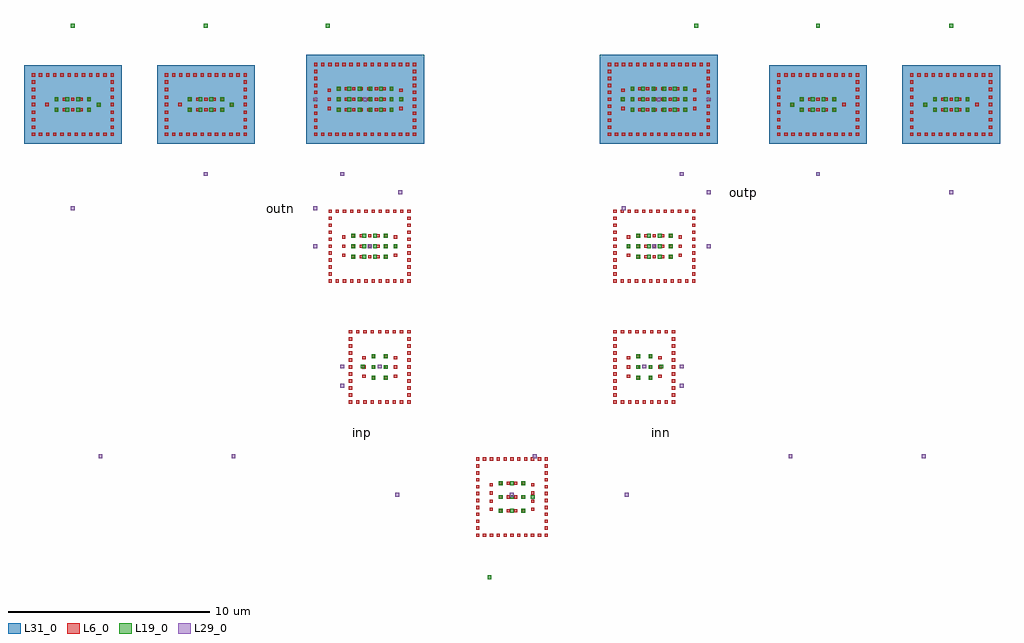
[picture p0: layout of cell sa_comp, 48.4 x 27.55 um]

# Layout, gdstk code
import gdstk
lib = gdstk.Library(unit=1e-6, precision=1e-09)
def R(c, l, rs):  # rectangles x0, y0, x1, y1
    for r in rs: c.add(gdstk.rectangle(r[:2], r[2:], *l))
def A(c, l, x, y, w, h, nx, ny, dx, dy):  # array of equal rectangles
    R(c, l, [(x+i*dx, y+j*dy, x+i*dx+w, y+j*dy+h) for i in range(nx) for j in range(ny)])
L6_0 = (6, 0)
L19_0 = (19, 0)
L29_0 = (29, 0)
L31_0 = (31, 0)

sa_comp = lib.new_cell('sa_comp')
A(sa_comp, L6_0, -1.78, 0.11, 0.16, 0.16, 11, 2, 0.34, 3.78)
A(sa_comp, L6_0, -1.78, 0.46, 0.16, 0.16, 1, 3, 0, 0.34)
A(sa_comp, L6_0, 1.62, 0.46, 0.16, 0.16, 1, 3, 0, 0.34)
A(sa_comp, L6_0, -0.65, 1.32, 0.16, 0.16, 4, 3, 0.38, 0.68)
A(sa_comp, L6_0, -1.11, 1.39, 0.16, 0.16, 1, 3, 0, 0.405)
A(sa_comp, L6_0, 0.95, 1.39, 0.16, 0.16, 1, 3, 0, 0.405)
A(sa_comp, L6_0, -6.96, 7.92, 0.16, 0.16, 1, 3, 0, 0.53)
A(sa_comp, L6_0, -6.32, 7.92, 0.16, 0.16, 1, 3, 0, 0.53)
A(sa_comp, L6_0, 6.16, 7.92, 0.16, 0.16, 1, 3, 0, 0.53)
A(sa_comp, L6_0, 6.8, 7.92, 0.16, 0.16, 1, 3, 0, 0.53)
A(sa_comp, L6_0, -7.42, 7.99, 0.16, 0.16, 1, 3, 0, 0.46)
A(sa_comp, L6_0, -5.86, 7.99, 0.16, 0.16, 1, 3, 0, 0.46)
A(sa_comp, L6_0, 5.7, 7.99, 0.16, 0.16, 1, 3, 0, 0.46)
A(sa_comp, L6_0, 7.26, 7.99, 0.16, 0.16, 1, 3, 0, 0.46)
A(sa_comp, L6_0, -8.09, 9.49, 0.16, 0.16, 1, 3, 0, 0.35)
A(sa_comp, L6_0, -5.19, 9.49, 0.16, 0.16, 1, 3, 0, 0.35)
A(sa_comp, L6_0, 5.03, 9.49, 0.16, 0.16, 1, 3, 0, 0.35)
A(sa_comp, L6_0, 7.93, 9.49, 0.16, 0.16, 1, 3, 0, 0.35)
A(sa_comp, L6_0, -8.74, 12.71, 0.16, 0.16, 11, 2, 0.355, 3.46)
A(sa_comp, L6_0, 5.03, 12.71, 0.16, 0.16, 11, 2, 0.355, 3.46)
A(sa_comp, L6_0, -9.09, 13.06, 0.16, 0.16, 1, 9, 0, 0.345)
A(sa_comp, L6_0, -5.19, 13.06, 0.16, 0.16, 1, 9, 0, 0.345)
A(sa_comp, L6_0, 5.03, 13.06, 0.16, 0.16, 1, 9, 0, 0.345)
A(sa_comp, L6_0, 8.93, 13.06, 0.16, 0.16, 1, 9, 0, 0.345)
A(sa_comp, L6_0, -7.96, 13.92, 0.16, 0.16, 5, 3, 0.41, 0.52)
A(sa_comp, L6_0, 6.16, 13.92, 0.16, 0.16, 5, 3, 0.41, 0.52)
A(sa_comp, L6_0, -8.42, 13.99, 0.16, 0.16, 1, 3, 0, 0.45)
A(sa_comp, L6_0, -5.86, 13.99, 0.16, 0.16, 1, 3, 0, 0.45)
A(sa_comp, L6_0, 5.7, 13.99, 0.16, 0.16, 1, 3, 0, 0.45)
A(sa_comp, L6_0, 8.26, 13.99, 0.16, 0.16, 1, 3, 0, 0.45)
A(sa_comp, L6_0, -23.46, 19.99, 0.16, 0.16, 11, 2, 0.355, 2.94)
A(sa_comp, L6_0, -16.86, 19.99, 0.16, 0.16, 11, 2, 0.355, 2.94)
A(sa_comp, L6_0, -9.81, 19.99, 0.16, 0.16, 15, 2, 0.35, 3.46)
A(sa_comp, L6_0, 4.75, 19.99, 0.16, 0.16, 15, 2, 0.35, 3.46)
A(sa_comp, L6_0, 13.15, 19.99, 0.16, 0.16, 11, 2, 0.355, 2.94)
A(sa_comp, L6_0, 19.75, 19.99, 0.16, 0.16, 11, 2, 0.355, 2.94)
A(sa_comp, L6_0, -9.81, 20.34, 0.16, 0.16, 1, 9, 0, 0.345)
A(sa_comp, L6_0, -4.91, 20.34, 0.16, 0.16, 1, 9, 0, 0.345)
A(sa_comp, L6_0, 4.75, 20.34, 0.16, 0.16, 1, 9, 0, 0.345)
A(sa_comp, L6_0, 9.65, 20.34, 0.16, 0.16, 1, 9, 0, 0.345)
A(sa_comp, L6_0, -23.81, 20.71, 0.16, 0.16, 1, 3, 0, 0.375)
A(sa_comp, L6_0, -19.91, 20.71, 0.16, 0.16, 1, 3, 0, 0.375)
A(sa_comp, L6_0, -17.21, 20.71, 0.16, 0.16, 1, 3, 0, 0.375)
A(sa_comp, L6_0, -13.31, 20.71, 0.16, 0.16, 1, 3, 0, 0.375)
A(sa_comp, L6_0, 13.15, 20.71, 0.16, 0.16, 1, 3, 0, 0.375)
A(sa_comp, L6_0, 17.05, 20.71, 0.16, 0.16, 1, 3, 0, 0.375)
A(sa_comp, L6_0, 19.75, 20.71, 0.16, 0.16, 1, 3, 0, 0.375)
A(sa_comp, L6_0, 23.65, 20.71, 0.16, 0.16, 1, 3, 0, 0.375)
A(sa_comp, L6_0, -22.68, 21.2, 0.16, 0.16, 5, 2, 0.41, 0.52)
A(sa_comp, L6_0, -16.08, 21.2, 0.16, 0.16, 5, 2, 0.41, 0.52)
A(sa_comp, L6_0, -8.68, 21.2, 0.16, 0.16, 3, 3, 0.375, 0.52)
A(sa_comp, L6_0, -7.55, 21.2, 0.16, 0.16, 1, 3, 0, 0.52)
A(sa_comp, L6_0, -7.175, 21.2, 0.16, 0.16, 1, 3, 0, 0.52)
A(sa_comp, L6_0, -6.795, 21.2, 0.16, 0.16, 1, 3, 0, 0.52)
A(sa_comp, L6_0, -6.42, 21.2, 0.16, 0.16, 1, 3, 0, 0.52)
A(sa_comp, L6_0, -6.04, 21.2, 0.16, 0.16, 1, 3, 0, 0.52)
A(sa_comp, L6_0, 5.88, 21.2, 0.16, 0.16, 1, 3, 0, 0.52)
A(sa_comp, L6_0, 6.26, 21.2, 0.16, 0.16, 1, 3, 0, 0.52)
A(sa_comp, L6_0, 6.635, 21.2, 0.16, 0.16, 1, 3, 0, 0.52)
A(sa_comp, L6_0, 7.015, 21.2, 0.16, 0.16, 1, 3, 0, 0.52)
A(sa_comp, L6_0, 7.39, 21.2, 0.16, 0.16, 1, 3, 0, 0.52)
A(sa_comp, L6_0, 7.77, 21.2, 0.16, 0.16, 3, 3, 0.375, 0.52)
A(sa_comp, L6_0, 14.28, 21.2, 0.16, 0.16, 5, 2, 0.41, 0.52)
A(sa_comp, L6_0, 20.88, 21.2, 0.16, 0.16, 5, 2, 0.41, 0.52)
A(sa_comp, L6_0, -9.14, 21.27, 0.16, 0.16, 1, 3, 0, 0.45)
A(sa_comp, L6_0, -5.58, 21.27, 0.16, 0.16, 1, 3, 0, 0.45)
A(sa_comp, L6_0, 5.42, 21.27, 0.16, 0.16, 1, 3, 0, 0.45)
A(sa_comp, L6_0, 8.98, 21.27, 0.16, 0.16, 1, 3, 0, 0.45)
A(sa_comp, L6_0, -23.81, 21.83, 0.16, 0.16, 1, 3, 0, 0.375)
A(sa_comp, L6_0, -19.91, 21.83, 0.16, 0.16, 1, 3, 0, 0.375)
A(sa_comp, L6_0, -17.21, 21.83, 0.16, 0.16, 1, 3, 0, 0.375)
A(sa_comp, L6_0, -13.31, 21.83, 0.16, 0.16, 1, 3, 0, 0.375)
A(sa_comp, L6_0, 13.15, 21.83, 0.16, 0.16, 1, 3, 0, 0.375)
A(sa_comp, L6_0, 17.05, 21.83, 0.16, 0.16, 1, 3, 0, 0.375)
A(sa_comp, L6_0, 19.75, 21.83, 0.16, 0.16, 1, 3, 0, 0.375)
A(sa_comp, L6_0, 23.65, 21.83, 0.16, 0.16, 1, 3, 0, 0.375)
R(sa_comp, L6_0, [(-1.78,1.485,-1.62,1.645), (1.62,1.485,1.78,1.645), (-1.78,1.825,-1.62,1.985), (1.62,1.825,1.78,1.985), (-1.78,2.17,-1.62,2.33), (1.62,2.17,1.78,2.33), (-1.78,2.51,-1.62,2.67), (1.62,2.51,1.78,2.67), (-1.11,2.61,-0.95,2.77), (0.95,2.61,1.11,2.77), (-1.78,2.855,-1.62,3.015), (1.62,2.855,1.78,3.015), (-1.78,3.195,-1.62,3.355), (1.62,3.195,1.78,3.355), (-1.78,3.54,-1.62,3.7), (1.62,3.54,1.78,3.7), (-8.09,6.71,-7.93,6.87), (-7.73,6.71,-7.57,6.87), (-7.365,6.71,-7.205,6.87), (-7.005,6.71,-6.845,6.87), (-6.64,6.71,-6.48,6.87), (-6.28,6.71,-6.12,6.87), (-5.915,6.71,-5.755,6.87), (-5.555,6.71,-5.395,6.87), (-5.19,6.71,-5.03,6.87), (5.03,6.71,5.19,6.87), (5.395,6.71,5.555,6.87), (5.755,6.71,5.915,6.87), (6.12,6.71,6.28,6.87), (6.48,6.71,6.64,6.87), (6.845,6.71,7.005,6.87), (7.205,6.71,7.365,6.87), (7.57,6.71,7.73,6.87), (7.93,6.71,8.09,6.87), (-8.09,7.06,-7.93,7.22), (-5.19,7.06,-5.03,7.22), (5.03,7.06,5.19,7.22), (7.93,7.06,8.09,7.22), (-8.09,7.405,-7.93,7.565), (-5.19,7.405,-5.03,7.565), (5.03,7.405,5.19,7.565), (7.93,7.405,8.09,7.565), (-8.09,7.755,-7.93,7.915), (-5.19,7.755,-5.03,7.915), (5.03,7.755,5.19,7.915), (7.93,7.755,8.09,7.915), (-8.09,8.1,-7.93,8.26), (-5.19,8.1,-5.03,8.26), (5.03,8.1,5.19,8.26), (7.93,8.1,8.09,8.26), (-8.09,8.45,-7.93,8.61), (-5.19,8.45,-5.03,8.61), (5.03,8.45,5.19,8.61), (7.93,8.45,8.09,8.61), (-8.09,8.795,-7.93,8.955), (-5.19,8.795,-5.03,8.955), (5.03,8.795,5.19,8.955), (7.93,8.795,8.09,8.955), (-8.09,9.145,-7.93,9.305), (-5.19,9.145,-5.03,9.305), (5.03,9.145,5.19,9.305), (7.93,9.145,8.09,9.305), (-7.73,10.19,-7.57,10.35), (-7.365,10.19,-7.205,10.35), (-7.005,10.19,-6.845,10.35), (-6.64,10.19,-6.48,10.35), (-6.28,10.19,-6.12,10.35), (-5.915,10.19,-5.755,10.35), (-5.555,10.19,-5.395,10.35), (5.395,10.19,5.555,10.35), (5.755,10.19,5.915,10.35), (6.12,10.19,6.28,10.35), (6.48,10.19,6.64,10.35), (6.845,10.19,7.005,10.35), (7.205,10.19,7.365,10.35), (7.57,10.19,7.73,10.35), (-9.09,12.71,-8.93,12.87), (8.93,12.71,9.09,12.87), (-9.09,16.17,-8.93,16.33), (8.93,16.17,9.09,16.33), (-23.81,19.99,-23.65,20.15), (-17.21,19.99,-17.05,20.15), (17.05,19.99,17.21,20.15), (23.65,19.99,23.81,20.15), (-23.81,20.34,-23.65,20.5), (-19.91,20.34,-19.75,20.5), (-17.21,20.34,-17.05,20.5), (-13.31,20.34,-13.15,20.5), (13.15,20.34,13.31,20.5), (17.05,20.34,17.21,20.5), (19.75,20.34,19.91,20.5), (23.65,20.34,23.81,20.5), (-23.14,21.46,-22.98,21.62), (-20.58,21.46,-20.42,21.62), (-16.54,21.46,-16.38,21.62), (-13.98,21.46,-13.82,21.62), (13.82,21.46,13.98,21.62), (16.38,21.46,16.54,21.62), (20.42,21.46,20.58,21.62), (22.98,21.46,23.14,21.62), (-23.81,22.93,-23.65,23.09), (-17.21,22.93,-17.05,23.09), (17.05,22.93,17.21,23.09), (23.65,22.93,23.81,23.09)])
A(sa_comp, L19_0, -0.65, 1.305, 0.19, 0.19, 3, 3, 0.555, 0.68)
A(sa_comp, L19_0, -6.96, 7.905, 0.19, 0.19, 1, 3, 0, 0.53)
A(sa_comp, L19_0, -6.35, 7.905, 0.19, 0.19, 1, 3, 0, 0.53)
A(sa_comp, L19_0, 6.16, 7.905, 0.19, 0.19, 1, 3, 0, 0.53)
A(sa_comp, L19_0, 6.77, 7.905, 0.19, 0.19, 1, 3, 0, 0.53)
A(sa_comp, L19_0, -7.96, 13.905, 0.19, 0.19, 3, 3, 0.535, 0.52)
A(sa_comp, L19_0, -6.35, 13.905, 0.19, 0.19, 1, 3, 0, 0.52)
A(sa_comp, L19_0, 6.16, 13.905, 0.19, 0.19, 1, 3, 0, 0.52)
A(sa_comp, L19_0, 6.7, 13.905, 0.19, 0.19, 3, 3, 0.535, 0.52)
A(sa_comp, L19_0, -22.68, 21.185, 0.19, 0.19, 3, 2, 0.535, 0.52)
A(sa_comp, L19_0, -16.08, 21.185, 0.19, 0.19, 3, 2, 0.535, 0.52)
A(sa_comp, L19_0, -8.68, 21.185, 0.19, 0.19, 3, 3, 0.52, 0.52)
A(sa_comp, L19_0, -7.115, 21.185, 0.19, 0.19, 1, 3, 0, 0.52)
A(sa_comp, L19_0, -6.595, 21.185, 0.19, 0.19, 1, 3, 0, 0.52)
A(sa_comp, L19_0, -6.07, 21.185, 0.19, 0.19, 1, 3, 0, 0.52)
A(sa_comp, L19_0, 5.88, 21.185, 0.19, 0.19, 1, 3, 0, 0.52)
A(sa_comp, L19_0, 6.405, 21.185, 0.19, 0.19, 1, 3, 0, 0.52)
A(sa_comp, L19_0, 6.925, 21.185, 0.19, 0.19, 1, 3, 0, 0.52)
A(sa_comp, L19_0, 7.45, 21.185, 0.19, 0.19, 3, 3, 0.52, 0.52)
A(sa_comp, L19_0, 14.82, 21.185, 0.19, 0.19, 3, 2, 0.535, 0.52)
A(sa_comp, L19_0, 21.42, 21.185, 0.19, 0.19, 3, 2, 0.535, 0.52)
R(sa_comp, L19_0, [(-1.21,-2,-1.02,-1.81), (0.935,1.985,1.125,2.175), (-7.495,8.455,-7.305,8.645), (7.305,8.455,7.495,8.645), (-5.875,14.425,-5.685,14.615), (5.685,14.425,5.875,14.615), (-21.07,21.185,-20.88,21.375), (-14.47,21.185,-14.28,21.375), (14.28,21.185,14.47,21.375), (20.88,21.185,21.07,21.375), (-20.595,21.445,-20.405,21.635), (-13.995,21.445,-13.805,21.635), (13.805,21.445,13.995,21.635), (20.405,21.445,20.595,21.635), (-21.07,21.705,-20.88,21.895), (-14.47,21.705,-14.28,21.895), (-5.595,21.705,-5.405,21.895), (5.405,21.705,5.595,21.895), (14.28,21.705,14.47,21.895), (20.88,21.705,21.07,21.895), (-21.88,25.36,-21.69,25.55), (-15.28,25.36,-15.09,25.55), (-9.24,25.36,-9.05,25.55), (9.05,25.36,9.24,25.55), (15.08,25.36,15.27,25.55), (21.68,25.36,21.87,25.55)])
R(sa_comp, L29_0, [(-5.78,2.1,-5.59,2.29), (-0.1,2.1,0.09,2.29), (5.6,2.1,5.79,2.29), (-20.5,4,-20.31,4.19), (-13.91,4,-13.72,4.19), (1.03,4,1.22,4.19), (13.72,4,13.91,4.19), (20.32,4,20.51,4.19), (-8.52,7.51,-8.33,7.7), (8.33,7.51,8.52,7.7), (-8.52,8.46,-8.33,8.65), (-6.65,8.46,-6.46,8.65), (6.46,8.46,6.65,8.65), (8.33,8.46,8.52,8.65), (-9.86,14.42,-9.67,14.61), (-7.15,14.42,-6.96,14.61), (6.96,14.42,7.15,14.61), (9.67,14.42,9.86,14.61), (-21.88,16.3,-21.69,16.49), (-9.86,16.3,-9.67,16.49), (5.45,16.3,5.64,16.49), (-5.64,17.1,-5.45,17.29), (9.67,17.1,9.86,17.29), (21.68,17.1,21.87,17.29), (-15.28,18,-15.09,18.19), (-8.52,18,-8.33,18.19), (8.33,18,8.52,18.19), (15.08,18,15.27,18.19), (-9.86,21.7,-9.67,21.89), (-7.37,21.7,-7.18,21.89), (7.18,21.7,7.37,21.89), (9.67,21.7,9.86,21.89)])
R(sa_comp, L31_0, [(-24.2,19.6,-19.36,23.48), (-17.6,19.6,-12.76,23.48), (-10.2,19.6,-4.36,24), (4.36,19.6,10.2,24), (12.76,19.6,17.6,23.48), (19.36,19.6,24.2,23.48)])
sa_comp.add(gdstk.Label('VDD', (-29.5,25.5), layer=8, texttype=25))
sa_comp.add(gdstk.Label('VSS', (-29.5,-2.1), layer=8, texttype=25))
sa_comp.add(gdstk.Label('inn', (7.41,5.3), layer=10, texttype=25))
sa_comp.add(gdstk.Label('inp', (-7.41,5.3), layer=10, texttype=25))
sa_comp.add(gdstk.Label('outp', (11.5,17.2), layer=30, texttype=25))
sa_comp.add(gdstk.Label('outn', (-11.5,16.4), layer=30, texttype=25))
sa_comp.add(gdstk.Label('clk', (-29.2,4.1), layer=30, texttype=25))

lib.write_gds('sa_comp.gds')
